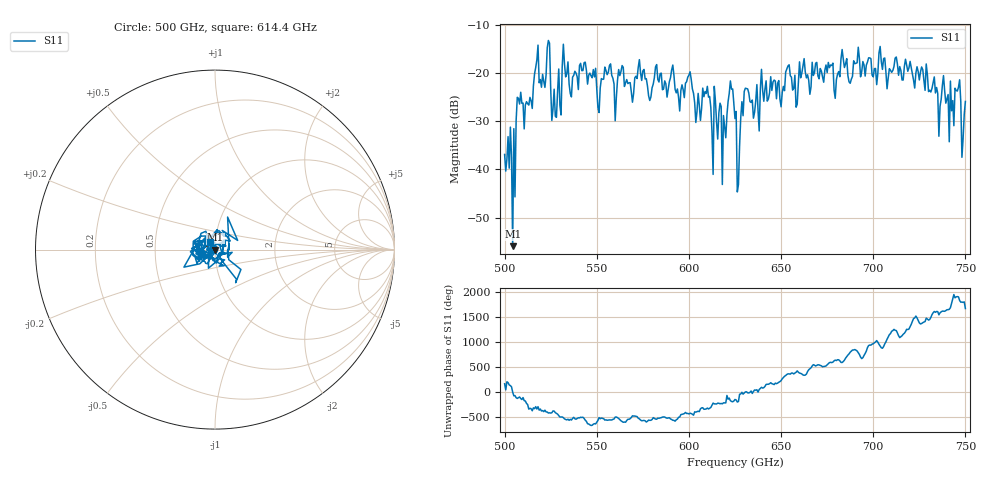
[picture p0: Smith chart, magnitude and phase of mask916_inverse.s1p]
!Created with skrf (http://scikit-rf.org).
# GHz S MA R 50.0
!freq magS11 angS11
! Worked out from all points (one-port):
!   401 points, 500 GHz to 750 GHz, reference 50 ohm
!   lowest |S11| = -55.9 dB at 504.4 GHz (marker M1), VSWR 1.00, Z = 50.2 + j0.00151 ohm
!   |S11| at or under -10 dB: start of sweep to end of sweep
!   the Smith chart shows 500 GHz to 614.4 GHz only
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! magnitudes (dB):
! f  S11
! 500 GHz  -36.9
! 504.4 GHz  -55.9
! 507.5 GHz  -25.3
! 513.8 GHz  -25.1
! 516.9 GHz  -18.9
! 520.6 GHz  -20.3
! 523.8 GHz  -13.3
! 526.9 GHz  -23.4
! 531.2 GHz  -18.7
! 542.5 GHz  -19.5
! 551.2 GHz  -28.2
! 562.5 GHz  -20.5
! 578.8 GHz  -25.7
! 590.6 GHz  -19.4
! 593.8 GHz  -23.3
! 600 GHz  -20.4
! 619.4 GHz  -31.2
! 623.1 GHz  -23.4
! 625 GHz  -29.5
! 626.9 GHz  -43.2
! 631.2 GHz  -23.2
! 636.9 GHz  -22.4
! 656.2 GHz  -23.6
! 680 GHz  -21.4
! 684.4 GHz  -18.9
! 687.5 GHz  -22.1
! 718.8 GHz  -19.7
! 750 GHz  -25.9
